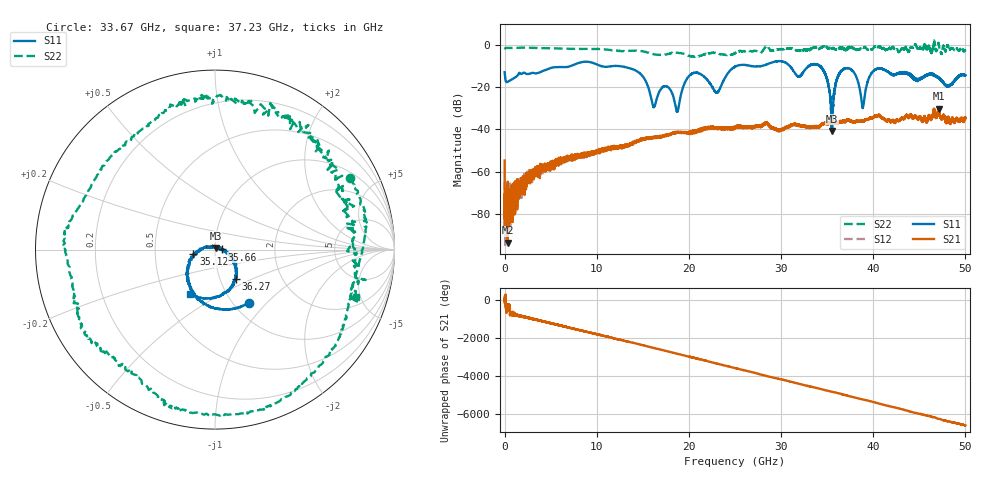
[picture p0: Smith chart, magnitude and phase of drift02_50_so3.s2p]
!Created with skrf (http://scikit-rf.org).
# Hz S RI R 50.0
!freq ReS11 ImS11 ReS21 ImS21 ReS12 ImS12 ReS22 ImS22
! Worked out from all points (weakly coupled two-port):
!   10001 points, 300 kHz to 50 GHz, reference 50 ohm
!   highest |S21| = -30.22 dB at 47.09 GHz (marker M1); lowest = -93.6 dB at 335.3 MHz (marker M2)
!   lowest |S11| = -40.8 dB at 35.51 GHz (marker M3), VSWR 1.02, Z = 50.3 + j0.873 ohm
!   |S11| at or under -10 dB: start of sweep to 7.179 GHz; 12.36 GHz to 25.16 GHz (12.8 GHz wide, 68.2 % of centre); 34.2 GHz to end of sweep (the widest 3 of 12)
!   |S22| runs from -5.7 to 2.1 dB; largest |S21 - S12| = 0.0031
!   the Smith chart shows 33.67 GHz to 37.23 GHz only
!   S11 on the Smith chart (normalised r, x): 33.67 GHz: 1.17, -0.79; 35.12 GHz: 0.78, -0.04; 35.66 GHz: 1.08, +0.00; 36.27 GHz: 1.19, -0.40; 37.23 GHz: 0.68, -0.36
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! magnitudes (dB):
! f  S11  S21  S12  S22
! 300 kHz  -12.9  -54.7  -64.7  -2.1
! 335.3 MHz  -17.5  -93.6  -72.6  -1.4
! 3.73 GHz  -13.2  -59.2  -59.1  -1.5
! 8.335 GHz  -8.2  -52.5  -52.0  -1.9
! 14.03 GHz  -11.7  -46.3  -46.4  -2.8
! 16.67 GHz  -23.4  -43.6  -43.6  -4.7
! 18.74 GHz  -31.6  -41.5  -41.6  -3.7
! 20.24 GHz  -13.8  -41.6  -41.4  -5.5
! 23.03 GHz  -22.6  -39.4  -39.2  -4.1
! 25 GHz  -10.3  -39.7  -39.3  -3.9
! 33.34 GHz  -9.3  -38.8  -38.8  -1.6
! 33.67 GHz  -9.1  -38.8  -38.6  -1.4
! 35.12 GHz  -18.2  -37.2  -37.3  -1.6
! 35.51 GHz  -40.8  -37.0  -36.9  -1.7
! 35.66 GHz  -27.8  -36.7  -36.9  -1.5
! 36.27 GHz  -13.9  -36.9  -36.6  -1.5
! 37.23 GHz  -11.0  -35.5  -35.6  -1.6
! 38.86 GHz  -29.9  -36.1  -35.7  -1.3
! 39.96 GHz  -12.7  -34.2  -34.5  -1.8
! 41.67 GHz  -13.0  -35.5  -35.4  -2.0
! 47.09 GHz  -15.5  -30.2  -30.3  0.9
! 50 GHz  -14.4  -34.5  -34.6  -2.6
